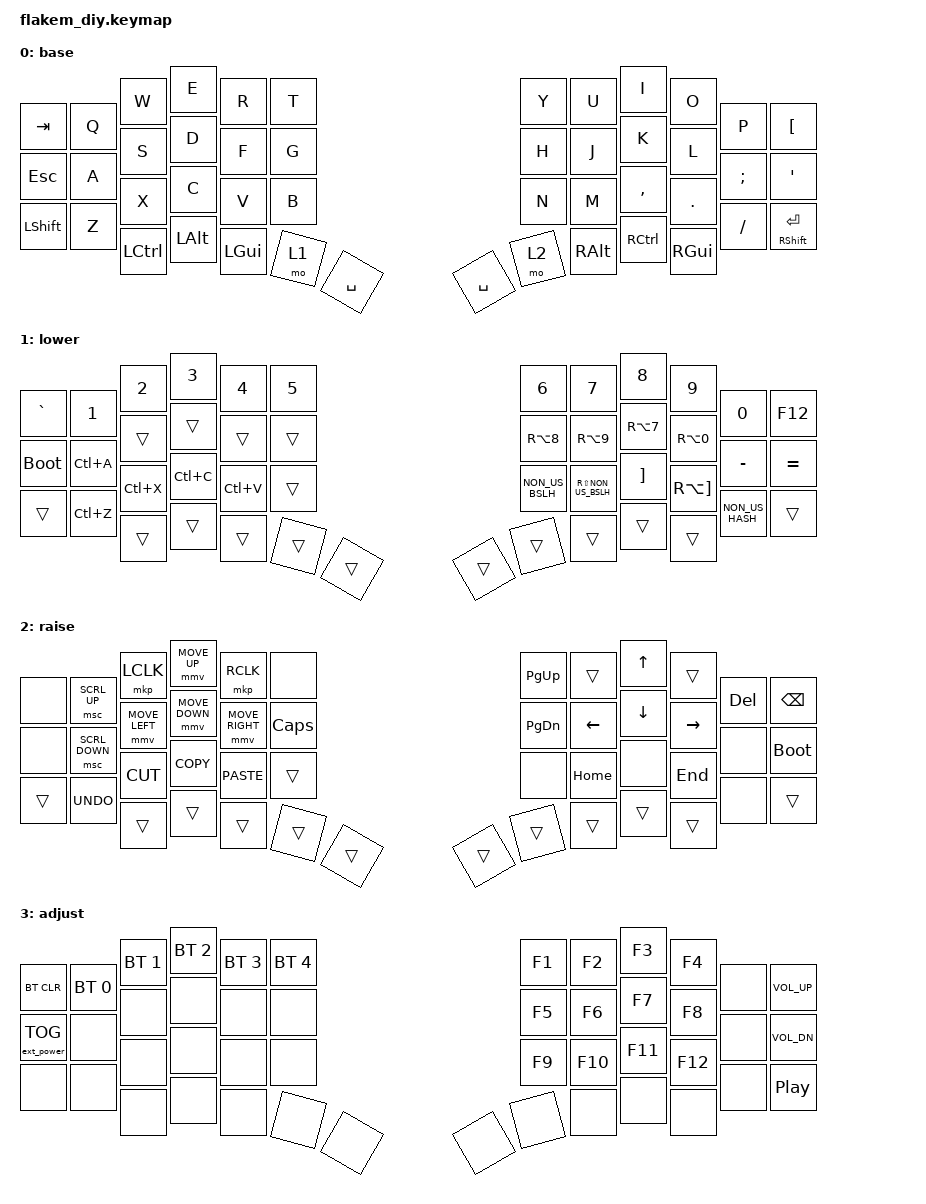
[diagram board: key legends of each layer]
// This file was generated from a template. Edit it to match your keyboard.
// See https://zmk.dev/docs/development/hardware-integration/new-shield for more instructions.

#include <behaviors.dtsi>
#include <dt-bindings/zmk/bt.h>
#include <dt-bindings/zmk/ext_power.h>
#include <dt-bindings/zmk/keys.h>
#include <dt-bindings/zmk/pointing.h>

#define BASE 0
#define LOWER 1
#define RAISE 2
#define ADJUST 3

/ {
    // Activate ADJUST layer by pressing raise and lower

    conditional_layers {
        compatible = "zmk,conditional-layers";

        adjust_layer {
            if-layers = <LOWER RAISE>;
            then-layer = <ADJUST>;
        };
    };

    combos {
        compatible = "zmk,combos";

        OpenParenthesis {
            bindings = <&kp LS(NUMBER_8)>;
            key-positions = <6 7>;
        };

        CloseParenthesis {
            bindings = <&kp LS(NUMBER_9)>;
            key-positions = <7 8>;
        };

        OpenBrace {
            bindings = <&kp RA(NUMBER_7)>;
            key-positions = <18 19>;
        };

        CloseBrace {
            bindings = <&kp RA(NUMBER_0)>;
            key-positions = <19 20>;
        };

        OpenBraket {
            bindings = <&kp RA(NUMBER_8)>;
            key-positions = <30 31>;
        };

        CloseBraket {
            bindings = <&kp RA(NUMBER_9)>;
            key-positions = <31 32>;
        };

        LessThan {
            bindings = <&kp NON_US_BSLH>;
            key-positions = <24 25>;
        };

        GreaterThan {
            bindings = <&kp RS(NON_US_BSLH)>;
            key-positions = <25 26>;
        };

        Backspace {
            bindings = <&kp BACKSPACE>;
            key-positions = <10 11>;
        };

    };

    keymap {
        compatible = "zmk,keymap";

        default_layer {
            display-name = "base";
            // ------------------------------------------------------------------------------------------
            // |  TAB |  Q  |  W  |  E  |  R  |  T  |               |  Y  |  U  |  I  |  O  |  P  |  Å  |
            // |  ESC |  A  |  S  |  D  |  F  |  G  |               |  H  |  J  |  K  |  L  |  Ø  |  Æ  |
            // | L_SH |  Z  |  X  |  C  |  V  |  B  |               |  N  |  M  |  ,  |  .  |  -  | ENT |
            //              | CTR | ALT |  OS |  L1 | SPC |   | SPC |  L2 | CTR | ALT | GUI |

            bindings = <
&kp TAB    &kp Q   &kp W         &kp E         &kp R      &kp T                             &kp Y   &kp U          &kp I      &kp O     &kp P     &kp LEFT_BRACKET
&kp ESC    &kp A   &kp S         &kp D         &kp F      &kp G                             &kp H   &kp J          &kp K      &kp L     &kp SEMI  &kp SQT
&kp LSHFT  &kp Z   &kp X         &kp C         &kp V      &kp B                             &kp N   &kp M          &kp COMMA  &kp DOT   &kp FSLH  &mt RSHIFT ENTER
                   &kp LCTRL     &kp LEFT_ALT  &kp LGUI   &mo 1   &kp SPACE     &kp SPACE   &mo 2   &kp RIGHT_ALT  &kp RCTRL  &kp RGUI
            >;
        };

        lower_layer {
            display-name = "lower";
            // ------------------------------------------------------------------------------------------
            // |   |  |  1  |  2  |  3  |  4  |  5  |               |  6  |  7  |  8  |  9  |  0  | F12 |
            // |BLDR_L|     |     |     |     |     |               |  ^  |  &  |  *  |  (  |  )  |  |  |
            // |      |     |     |     |     |     |               |  [  |  ]  |  ;  |  :  |  \  |     |
            //              |     |     |     |     |     |   |     |     |     |     |     |

            bindings = <
&kp GRAVE   &kp N1    &kp N2     &kp N3     &kp N4     &kp N5                    &kp N6           &kp N7               &kp N8             &kp N9                 &kp N0           &kp F12
&bootloader &kp LC(A) &trans     &trans     &trans     &trans                    &kp RA(N8)       &kp RA(N9)           &kp RA(N7)         &kp RA(N0)             &kp MINUS        &kp EQUAL
&trans      &kp LC(Z) &kp LC(X)  &kp LC(C)  &kp LC(V)  &trans                    &kp NON_US_BSLH  &kp RS(NON_US_BSLH)  &kp RIGHT_BRACKET  &kp RA(RIGHT_BRACKET)  &kp NON_US_HASH  &trans
                      &trans     &trans     &trans     &trans  &trans    &trans  &trans           &trans               &trans             &trans
            >;
        };


        raise_layer {
            display-name = "raise";
            // ------------------------------------------------------------------------------------------
            // |      | SCRL_UP | LCLK|  ^  | RCLK|     |               | PGUP|     |  ^  |     | DEL |BKSPC |
            // |      | SCRL_DN |  <- |  v  |  -> | CAPS|               | PGDN|  J  |  v  |  -> |     |BLDR_R|
            // |      |         |     |     |     |     |               |     | HOME|     | END |     |      |
            //                  |     |     |     |     |     |   |     |     |     |     |     |

            bindings = <
&none   &msc SCRL_UP    &mkp LCLK       &mmv MOVE_UP    &mkp RCLK        &none                      &kp PG_UP  &trans    &kp UP    &trans     &kp DELETE   &kp BACKSPACE
&none   &msc SCRL_DOWN  &mmv MOVE_LEFT  &mmv MOVE_DOWN  &mmv MOVE_RIGHT  &kp CAPS                    &kp PG_DN  &kp LEFT  &kp DOWN  &kp RIGHT  &none   &bootloader
&trans  &kp K_UNDO      &kp K_CUT       &kp K_COPY      &kp K_PASTE      &trans                      &none      &kp HOME  &none     &kp END    &none   &trans
                        &trans          &trans          &trans           &trans    &trans    &trans  &trans     &trans    &trans    &trans
            >;
        };

        adjust_layer {
            display-name = "adjust";
            // ------------------------------------------------------------------------------------------
            // | BTCLR| BT1 | BT2 | BT3 | BT4 | BT5 |               | F1  | F2  | F3  | F4  |     | VOL_UP |
            // |      |     |     |     |     |     |               | F5  | F6  | F7  | F8  |     | VOL_DN |
            // |      |     |     |     |     |     |               | F9  | F10 | F11 | F12 |     | PAUSE  |
            //              |     |     |     |     |     |   |     |     |     |     |     |

            bindings = <
&bt BT_CLR  &bt BT_SEL 0  &bt BT_SEL 1  &bt BT_SEL 2  &bt BT_SEL 3  &bt BT_SEL 4                &kp F1      &kp F2      &kp F3      &kp F4      &none      &kp C_VOL_UP
&ext_power EP_TOG   &none   &none   &none       &none       &none                               &kp F5      &kp F6      &kp F7      &kp F8      &none       &kp C_VOL_DN
&none       &none       &none       &none       &none       &none                               &kp F9      &kp F10     &kp F11     &kp F12     &none       &kp C_PLAY_PAUSE
                        &none       &none       &none       &none       &none       &none       &none       &none       &none       &none
            >;
        };

    };
};
